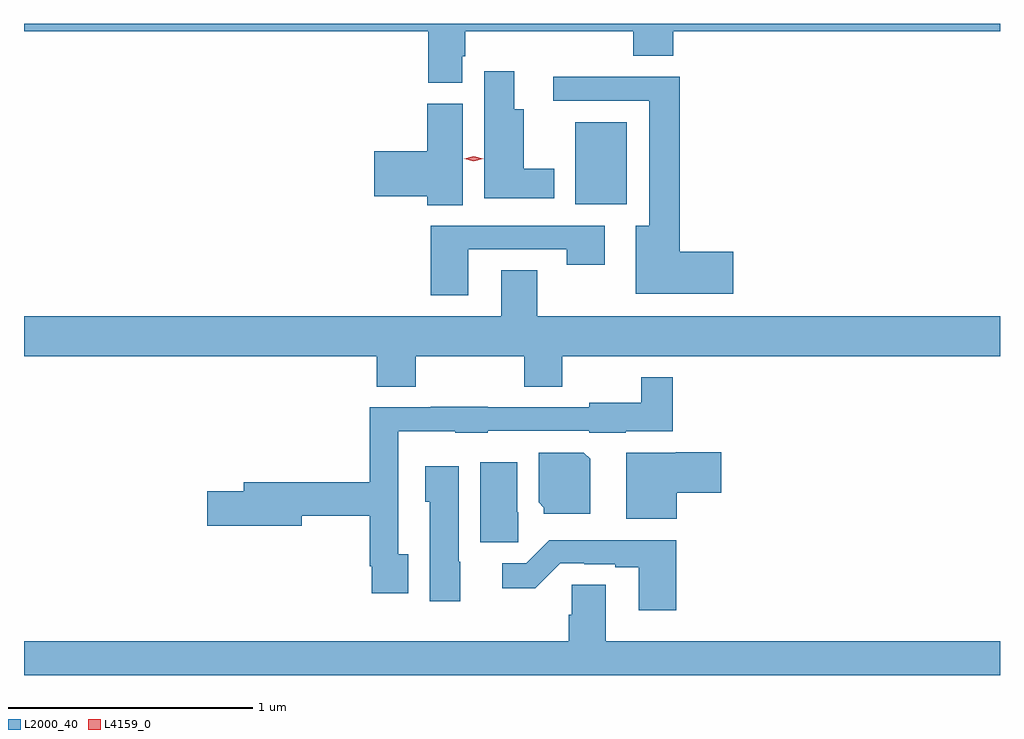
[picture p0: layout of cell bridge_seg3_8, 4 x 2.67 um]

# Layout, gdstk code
import gdstk
lib = gdstk.Library(unit=1e-6, precision=1e-09)
def R(c, l, rs):  # rectangles x0, y0, x1, y1
    for r in rs: c.add(gdstk.rectangle(r[:2], r[2:], *l))
def P(c, l, *ps):  # polygons
    for p in ps: c.add(gdstk.Polygon(p, *l))
L2000_40 = (2000, 40)
L4159_0 = (4159, 0)

bridge_seg3_8 = lib.new_cell('bridge_seg3_8')
R(bridge_seg3_8, L2000_40, [(694.982,748.16,695.194,748.495)])
P(bridge_seg3_8, L2000_40, [(694.519,748.767),(694.532,748.767),(694.532,748.868),(695.219,748.868),(695.219,748.769),(695.384,748.769),(695.384,748.868),(696.723,748.868),(696.723,748.9),(692.723,748.9),(692.723,748.868),(694.379,748.868),(694.379,748.657),(694.519,748.657)],
  [(694.897,748.306),(694.771,748.306),(694.771,748.549),(694.732,748.549),(694.732,748.705),(694.61,748.705),(694.61,748.184),(694.897,748.184)],
  [(695.629,747.965),(695.411,747.965),(695.411,748.682),(694.893,748.682),(694.893,748.584),(695.285,748.584),(695.285,748.072),(695.231,748.072),(695.231,747.794),(695.629,747.794)],
  [(694.522,748.572),(694.376,748.572),(694.376,748.376),(694.158,748.376),(694.158,748.193),(694.376,748.193),(694.376,748.156),(694.522,748.156)],
  [(694.543,747.975),(694.948,747.975),(694.948,747.912),(695.104,747.912),(695.104,748.071),(694.391,748.071),(694.391,747.786),(694.543,747.786)],
  [(694.679,747.89),(694.679,747.7),(692.723,747.7),(692.723,747.536),(694.169,747.536),(694.169,747.412),(694.329,747.412),(694.329,747.536),(694.774,747.536),(694.774,747.412),(694.929,747.412),(694.929,747.536),(696.723,747.536),(696.723,747.7),(694.827,747.7),(694.827,747.89)],
  [(694.297,746.726),(694.257,746.726),(694.257,747.23),(694.491,747.23),(694.491,747.224),(694.623,747.224),(694.623,747.231),(695.04,747.231),(695.04,747.224),(695.19,747.224),(695.19,747.23),(695.381,747.23),(695.381,747.451),(695.253,747.451),(695.253,747.346),(695.04,747.346),(695.04,747.327),(694.623,747.327),(694.623,747.329),(694.391,747.329),(694.391,747.327),(694.141,747.327),(694.141,747.02),(693.623,747.02),(693.623,746.984),(693.474,746.984),(693.474,746.842),(693.862,746.842),(693.862,746.884),(694.141,746.884),(694.141,746.677),(694.149,746.677),(694.149,746.565),(694.297,746.565)],
  [(695.398,746.978),(695.581,746.978),(695.581,747.144),(695.394,747.144),(695.394,747.142),(695.192,747.142),(695.192,746.87),(695.398,746.87)],
  [(695.044,747.116),(695.018,747.142),(694.832,747.142),(694.832,746.938),(694.854,746.916),(694.854,746.891),(695.044,746.891)],
  [(694.748,746.898),(694.744,746.898),(694.744,747.103),(694.592,747.103),(694.592,746.775),(694.748,746.775)],
  [(694.51,746.694),(694.504,746.694),(694.504,747.085),(694.367,747.085),(694.367,746.94),(694.385,746.94),(694.385,746.532),(694.51,746.532)],
  [(695.396,746.782),(694.876,746.782),(694.782,746.688),(694.683,746.688),(694.683,746.586),(694.818,746.586),(694.92,746.688),(695.02,746.688),(695.02,746.685),(695.147,746.685),(695.147,746.673),(695.243,746.673),(695.243,746.496),(695.396,746.496)],
  [(696.723,746.368),(695.107,746.368),(695.107,746.6),(694.968,746.6),(694.968,746.478),(694.955,746.478),(694.955,746.368),(692.723,746.368),(692.723,746.229),(696.723,746.229)])
P(bridge_seg3_8, L4159_0, [(694.567,748.336),(694.528,748.346),(694.528,748.346),(694.528,748.346),(694.567,748.356),(694.606,748.346),(694.606,748.346),(694.606,748.346)])

lib.write_gds('bridge_seg3_8.gds')
